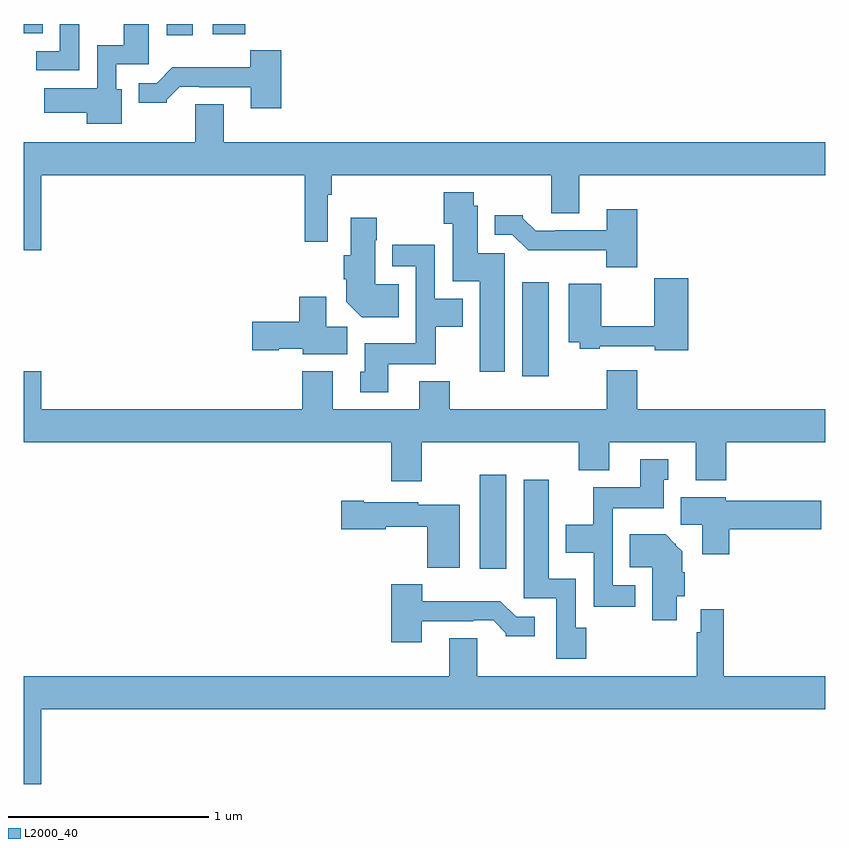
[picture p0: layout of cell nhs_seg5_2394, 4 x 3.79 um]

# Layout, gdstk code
import gdstk
lib = gdstk.Library(unit=1e-6, precision=1e-09)
def R(c, l, rs):  # rectangles x0, y0, x1, y1
    for r in rs: c.add(gdstk.rectangle(r[:2], r[2:], *l))
def P(c, l, *ps):  # polygons
    for p in ps: c.add(gdstk.Polygon(p, *l))
L2000_40 = (2000, 40)

nhs_seg5_2394 = lib.new_cell('nhs_seg5_2394')
R(nhs_seg5_2394, L2000_40, [(251.276,904.08,251.407,904.549), (251.489,905.04,251.62,905.509), (249.713,906.744,249.844,906.799), (249.944,906.749,250.106,906.799), (249,906.752,249.095,906.799)])
P(nhs_seg5_2394, L2000_40, [(249.49,906.474),(249.462,906.474),(249.462,906.597),(249.625,906.597),(249.625,906.799),(249.5,906.799),(249.5,906.694),(249.366,906.694),(249.366,906.478),(249.102,906.478),(249.102,906.356),(249.314,906.356),(249.314,906.302),(249.49,906.302)],
  [(249.276,906.799),(249.18,906.799),(249.18,906.663),(249.063,906.663),(249.063,906.567),(249.276,906.567)],
  [(250.286,906.667),(250.131,906.667),(250.131,906.583),(249.742,906.583),(249.663,906.504),(249.575,906.504),(249.575,906.407),(249.714,906.407),(249.714,906.422),(249.778,906.486),(249.877,906.486),(249.877,906.483),(250.133,906.483),(250.133,906.378),(250.286,906.378)],
  [(249.088,906.044),(250.402,906.044),(250.402,905.712),(250.518,905.712),(250.518,905.948),(250.538,905.948),(250.538,906.044),(251.633,906.044),(251.633,905.854),(251.773,905.854),(251.773,906.044),(253,906.044),(253,906.208),(249.997,906.208),(249.997,906.398),(249.857,906.398),(249.857,906.208),(249,906.208),(249,905.67),(249.088,905.67)],
  [(251.401,905.655),(251.266,905.655),(251.266,905.892),(251.247,905.892),(251.247,905.959),(251.095,905.959),(251.095,905.803),(251.141,905.803),(251.141,905.516),(251.276,905.516),(251.276,905.064),(251.401,905.064)],
  [(252.062,905.875),(251.909,905.875),(251.909,905.769),(251.653,905.769),(251.653,905.766),(251.554,905.766),(251.49,905.83),(251.49,905.845),(251.351,905.845),(251.351,905.748),(251.439,905.748),(251.518,905.67),(251.907,905.67),(251.907,905.585),(252.062,905.585)],
  [(250.871,905.5),(250.753,905.5),(250.753,905.72),(250.761,905.72),(250.761,905.833),(250.631,905.833),(250.631,905.646),(250.598,905.646),(250.598,905.524),(250.61,905.524),(250.61,905.414),(250.688,905.336),(250.871,905.336)],
  [(250.819,905.102),(251.055,905.102),(251.055,905.288),(251.191,905.288),(251.191,905.428),(251.052,905.428),(251.052,905.698),(250.839,905.698),(250.839,905.589),(250.956,905.589),(250.956,905.206),(250.703,905.206),(250.703,905.064),(250.679,905.064),(250.679,904.962),(250.819,904.962)],
  [(252.317,905.53),(252.146,905.53),(252.146,905.291),(251.882,905.291),(251.882,905.503),(251.72,905.503),(251.72,905.21),(251.775,905.21),(251.775,905.178),(251.875,905.178),(251.875,905.19),(252.15,905.19),(252.15,905.17),(252.317,905.17)],
  [(250.615,905.288),(250.51,905.288),(250.51,905.437),(250.376,905.437),(250.376,905.312),(250.14,905.312),(250.14,905.17),(250.272,905.17),(250.272,905.177),(250.392,905.177),(250.392,905.15),(250.615,905.15)],
  [(250.987,904.712),(251.771,904.712),(251.771,904.571),(251.923,904.571),(251.923,904.712),(252.353,904.712),(252.353,904.523),(252.506,904.523),(252.506,904.712),(253,904.712),(253,904.876),(252.062,904.876),(252.062,905.071),(251.909,905.071),(251.909,904.876),(251.126,904.876),(251.126,905.017),(250.973,905.017),(250.973,904.876),(250.543,904.876),(250.543,905.065),(250.391,905.065),(250.391,904.876),(249.088,904.876),(249.088,905.065),(249,905.065),(249,904.712),(250.835,904.712),(250.835,904.518),(250.987,904.518)],
  [(252.052,903.999),(251.94,903.999),(251.94,904.382),(252.193,904.382),(252.193,904.524),(252.217,904.524),(252.217,904.627),(252.077,904.627),(252.077,904.486),(251.842,904.486),(251.842,904.3),(251.705,904.3),(251.705,904.16),(251.844,904.16),(251.844,903.891),(252.052,903.891)],
  [(251.807,903.786),(251.754,903.786),(251.754,904.03),(251.62,904.03),(251.62,904.525),(251.495,904.525),(251.495,903.933),(251.658,903.933),(251.658,903.63),(251.807,903.63)],
  [(252.521,904.277),(252.979,904.277),(252.979,904.419),(252.504,904.419),(252.504,904.438),(252.278,904.438),(252.278,904.299),(252.386,904.299),(252.386,904.152),(252.521,904.152)],
  [(251.176,904.399),(250.968,904.399),(250.968,904.411),(250.696,904.411),(250.696,904.419),(250.584,904.419),(250.584,904.277),(250.806,904.277),(250.806,904.289),(251.014,904.289),(251.014,904.085),(251.176,904.085)],
  [(252.259,903.942),(252.299,903.942),(252.299,904.064),(252.286,904.064),(252.286,904.167),(252.255,904.198),(252.255,904.206),(252.249,904.206),(252.203,904.252),(252.025,904.252),(252.025,904.088),(252.137,904.088),(252.137,903.822),(252.259,903.822)],
  [(250.987,903.819),(251.243,903.819),(251.243,903.822),(251.342,903.822),(251.406,903.758),(251.406,903.743),(251.551,903.743),(251.551,903.84),(251.457,903.84),(251.379,903.919),(250.99,903.919),(250.99,904.003),(250.835,904.003),(250.835,903.714),(250.987,903.714)],
  [(249.088,903.38),(253,903.38),(253,903.544),(252.494,903.544),(252.494,903.877),(252.378,903.877),(252.378,903.764),(252.358,903.764),(252.358,903.544),(251.263,903.544),(251.263,903.734),(251.123,903.734),(251.123,903.544),(249,903.544),(249,903.006),(249.088,903.006)])

lib.write_gds('nhs_seg5_2394.gds')
